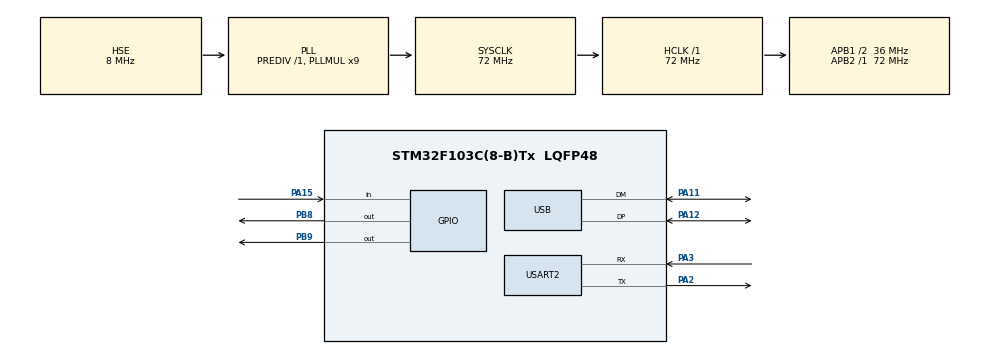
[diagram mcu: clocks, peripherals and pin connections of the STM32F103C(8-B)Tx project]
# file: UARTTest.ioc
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Mcu.Family=STM32F1
Mcu.Name=STM32F103C(8-B)Tx
Mcu.Package=LQFP48
NVIC.PriorityGroup=NVIC_PRIORITYGROUP_4
NVIC.USB_LP_CAN1_RX0_IRQn=true\:0\:0\:false\:false\:true\:false\:true\:true
PA11.Mode=Device
PA11.Signal=USB_DM
PA12.Mode=Device
PA12.Signal=USB_DP
PA13.Mode=Serial_Wire
PA13.Signal=SYS_JTMS-SWDIO
PA14.Mode=Serial_Wire
PA14.Signal=SYS_JTCK-SWCLK
PA15.Signal=GPIO_Input
PA2.Mode=Asynchronous
PA2.Signal=USART2_TX
PA3.Mode=Asynchronous
PA3.Signal=USART2_RX
PB8.Signal=GPIO_Output
PB9.Signal=GPIO_Output
PD0-OSC_IN.Mode=HSE-External-Oscillator
PD0-OSC_IN.Signal=RCC_OSC_IN
PD1-OSC_OUT.Mode=HSE-External-Oscillator
PD1-OSC_OUT.Signal=RCC_OSC_OUT
ProjectManager.HeapSize=0x200
ProjectManager.StackSize=0x400
ProjectManager.TargetToolchain=STM32CubeIDE
RCC.AHBFreq_Value=72000000
RCC.APB1CLKDivider=RCC_HCLK_DIV2
RCC.APB1Freq_Value=36000000
RCC.APB1TimFreq_Value=72000000
RCC.APB2Freq_Value=72000000
RCC.APB2TimFreq_Value=72000000
RCC.HCLKFreq_Value=72000000
RCC.PLLMUL=RCC_PLL_MUL9
RCC.PLLSourceVirtual=RCC_PLLSOURCE_HSE
RCC.SYSCLKFreq_VALUE=72000000
RCC.SYSCLKSource=RCC_SYSCLKSOURCE_PLLCLK
RCC.USBFreq_Value=48000000
RCC.USBPrescaler=RCC_USBCLKSOURCE_PLL_DIV1_5
USART2.VirtualMode=VM_ASYNC
USB_DEVICE.CLASS_NAME_FS=CDC
USB_DEVICE.VirtualMode=Cdc
USB_DEVICE.VirtualModeFS=Cdc_FS
VP_USB_DEVICE_VS_USB_DEVICE_CDC_FS.Mode=CDC_FS
board=custom

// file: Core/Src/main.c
/* USER CODE BEGIN Header */
/**
  ******************************************************************************
  * @file           : main.c
  * @brief          : Main program body
  ******************************************************************************
  * @attention
  *
  * Copyright (c) 2022 STMicroelectronics.
  * All rights reserved.
  *
  * This software is licensed under terms that can be found in the LICENSE file
  * in the root directory of this software component.
  * If no LICENSE file comes with this software, it is provided AS-IS.
  *
  ******************************************************************************
  */
/* USER CODE END Header */
#include "main.h"
#include "usb_device.h"

/* USER CODE BEGIN Includes */
#include "string.h"
#include "stdlib.h"
/* USER CODE END Includes */

UART_HandleTypeDef huart2;

void SystemClock_Config(void);
static void MX_GPIO_Init(void);
static void MX_USART2_UART_Init(void);

int main(void)
{

  /* MCU Configuration--------------------------------------------------------*/

  /* Reset of all peripherals, Initializes the Flash interface and the Systick. */
  HAL_Init();

  /* USER CODE BEGIN Init */
  uint8_t receivedData[14] = {0};
  char dataMode[20], longitude, latitude;
  /* USER CODE END Init */

  /* Configure the system clock */
  SystemClock_Config();

  /* Initialize all configured peripherals */
  MX_GPIO_Init();
  MX_USB_DEVICE_Init();
  MX_USART2_UART_Init();
  /* USER CODE BEGIN 2 */
  struct {
	  char dataMode[10];
	  int latitude, longitude;
  } DummySensor;

  char *token;
  const char separator[2] = ",";

  HAL_GPIO_WritePin(GPIOB, GPIO_PIN_8, 1);
  HAL_GPIO_WritePin(GPIOB, GPIO_PIN_9, 1);
  /* USER CODE END 2 */

  /* Infinite loop */
  /* USER CODE BEGIN WHILE */
  while (1)
  {
	  HAL_UART_Receive(&huart2, receivedData, sizeof(receivedData), HAL_MAX_DELAY);

	  token = strtok(receivedData, separator);

	  if( token != NULL ) {
		  strcpy(DummySensor.dataMode, token);
	      DummySensor.latitude = atoi(strtok(NULL, separator));
	      DummySensor.longitude = atoi(strtok(NULL, separator));
	  }

	  HAL_GPIO_WritePin(GPIOB, GPIO_PIN_8, DummySensor.latitude);
	  HAL_GPIO_WritePin(GPIOB, GPIO_PIN_9, DummySensor.longitude);

	  while(CDC_Transmit_FS((uint8_t *)receivedData, strlen(receivedData))== USBD_BUSY);
    /* USER CODE END WHILE */

  }
}

void SystemClock_Config(void)
{
  RCC_OscInitTypeDef RCC_OscInitStruct = {0};
  RCC_ClkInitTypeDef RCC_ClkInitStruct = {0};
  RCC_PeriphCLKInitTypeDef PeriphClkInit = {0};

  /** Initializes the RCC Oscillators according to the specified parameters
  * in the RCC_OscInitTypeDef structure.
  */
  RCC_OscInitStruct.OscillatorType = RCC_OSCILLATORTYPE_HSE;
  RCC_OscInitStruct.HSEState = RCC_HSE_ON;
  RCC_OscInitStruct.HSEPredivValue = RCC_HSE_PREDIV_DIV1;
  RCC_OscInitStruct.HSIState = RCC_HSI_ON;
  RCC_OscInitStruct.PLL.PLLState = RCC_PLL_ON;
  RCC_OscInitStruct.PLL.PLLSource = RCC_PLLSOURCE_HSE;
  RCC_OscInitStruct.PLL.PLLMUL = RCC_PLL_MUL9;
  if (HAL_RCC_OscConfig(&RCC_OscInitStruct) != HAL_OK)
  {
    Error_Handler();
  }

  /** Initializes the CPU, AHB and APB buses clocks
  */
  RCC_ClkInitStruct.ClockType = RCC_CLOCKTYPE_HCLK|RCC_CLOCKTYPE_SYSCLK
                              |RCC_CLOCKTYPE_PCLK1|RCC_CLOCKTYPE_PCLK2;
  RCC_ClkInitStruct.SYSCLKSource = RCC_SYSCLKSOURCE_PLLCLK;
  RCC_ClkInitStruct.AHBCLKDivider = RCC_SYSCLK_DIV1;
  RCC_ClkInitStruct.APB1CLKDivider = RCC_HCLK_DIV2;
  RCC_ClkInitStruct.APB2CLKDivider = RCC_HCLK_DIV1;

  if (HAL_RCC_ClockConfig(&RCC_ClkInitStruct, FLASH_LATENCY_2) != HAL_OK)
  {
    Error_Handler();
  }
  PeriphClkInit.PeriphClockSelection = RCC_PERIPHCLK_USB;
  PeriphClkInit.UsbClockSelection = RCC_USBCLKSOURCE_PLL_DIV1_5;
  if (HAL_RCCEx_PeriphCLKConfig(&PeriphClkInit) != HAL_OK)
  {
    Error_Handler();
  }
}

static void MX_USART2_UART_Init(void)
{

  huart2.Instance = USART2;
  huart2.Init.BaudRate = 115200;
  huart2.Init.WordLength = UART_WORDLENGTH_8B;
  huart2.Init.StopBits = UART_STOPBITS_1;
  huart2.Init.Parity = UART_PARITY_NONE;
  huart2.Init.Mode = UART_MODE_TX_RX;
  huart2.Init.HwFlowCtl = UART_HWCONTROL_NONE;
  huart2.Init.OverSampling = UART_OVERSAMPLING_16;
  if (HAL_UART_Init(&huart2) != HAL_OK)
  {
    Error_Handler();
  }

}

static void MX_GPIO_Init(void)
{
  GPIO_InitTypeDef GPIO_InitStruct = {0};

  /* GPIO Ports Clock Enable */
  __HAL_RCC_GPIOD_CLK_ENABLE();
  __HAL_RCC_GPIOA_CLK_ENABLE();
  __HAL_RCC_GPIOB_CLK_ENABLE();

  /*Configure GPIO pin Output Level */
  HAL_GPIO_WritePin(GPIOB, GPIO_PIN_8|GPIO_PIN_9, GPIO_PIN_RESET);

  /*Configure GPIO pin : PA15 */
  GPIO_InitStruct.Pin = GPIO_PIN_15;
  GPIO_InitStruct.Mode = GPIO_MODE_INPUT;
  GPIO_InitStruct.Pull = GPIO_NOPULL;
  HAL_GPIO_Init(GPIOA, &GPIO_InitStruct);

  /*Configure GPIO pins : PB8 PB9 */
  GPIO_InitStruct.Pin = GPIO_PIN_8|GPIO_PIN_9;
  GPIO_InitStruct.Mode = GPIO_MODE_OUTPUT_PP;
  GPIO_InitStruct.Pull = GPIO_NOPULL;
  GPIO_InitStruct.Speed = GPIO_SPEED_FREQ_LOW;
  HAL_GPIO_Init(GPIOB, &GPIO_InitStruct);

}

void Error_Handler(void)
{
  __disable_irq();
  while (1)
  {
  }
}
